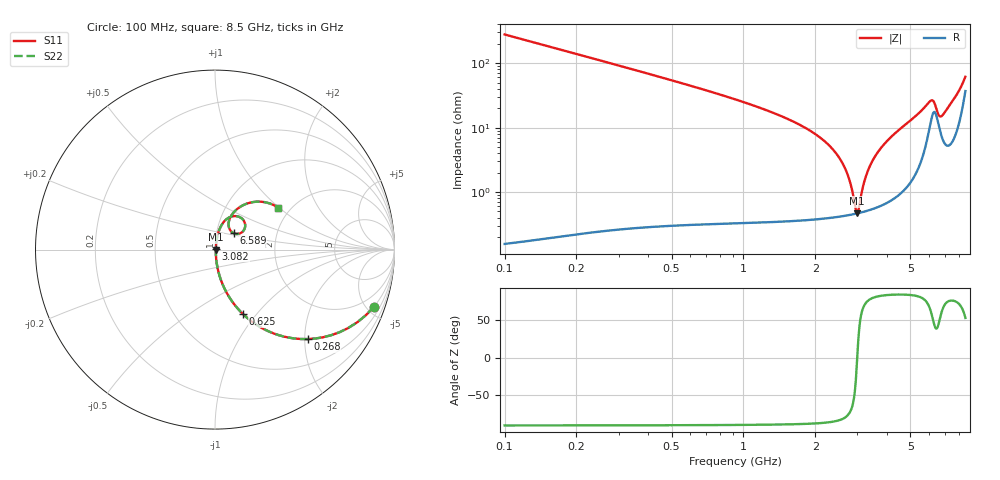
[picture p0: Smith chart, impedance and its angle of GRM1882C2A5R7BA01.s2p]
!Murata Part Number: GRM1882C2A5R7BA01
!These Parameters are Measured in Series Mode Connection
!Data Generated on Mar 30, 2021
!  o--ll--o
!Port1  Port2
!  o------o
!Operation Temp=25[degC], DC Bias Voltage=0[V]
!Freq. Start=100[MHz] Stop=9[GHz] 401[Steps]
# Hz S RI R 50
!Freq.(Hz) S11(Real) S11(Imag) S21(Real) S21(Imag) S12(Real) S12(Imag) S22(Real) S22(Imag)
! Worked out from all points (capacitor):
!   401 points, 100 MHz to 8.5 GHz, reference 50 ohm
!   read as one part in series: C = 5.7 pF near 142 MHz
!   lowest |Z| = 467 mohm at 2.998 GHz (marker M1)
!   series resonance near 2.995 GHz, so ESL is about 500 pH
!   S11 on the Smith chart (normalised r, x): 100 MHz: 1.00, -5.58; 268 MHz: 1.01, -2.07; 625 MHz: 1.01, -0.86; 3.082 GHz: 1.01, +0.01; 6.589 GHz: 1.21, +0.23; 8.5 GHz: 1.74, +0.99
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1e8  0.8859 -0.3176  0.1141 0.3176  0.1141 0.3176  0.8859 -0.3176
2.68e8  0.5162 -0.4985  0.4838 0.4985  0.4838 0.4985  0.5162 -0.4985
4.36e8  0.283 -0.4481  0.717 0.4481  0.717 0.4481  0.283 -0.4481
6.25e8  0.1565 -0.3597  0.8435 0.3597  0.8435 0.3597  0.1565 -0.3597
9.61e8  0.0668 -0.2435  0.9332 0.2435  0.9332 0.2435  0.0668 -0.2435
1.507e9  0.0226 -0.1365  0.9774 0.1365  0.9774 0.1365  0.0226 -0.1365
2.116e9  0.00836 -0.0671  0.9916 0.0671  0.9916 0.0671  0.00836 -0.0671
2.494e9  0.00537 -0.0354  0.9946 0.0354  0.9946 0.0354  0.00537 -0.0354
2.746e9  0.00464 -0.0169  0.9954 0.0169  0.9954 0.0169  0.00464 -0.0169
2.914e9  0.00457 -0.00539  0.9954 0.00539  0.9954 0.00539  0.00457 -0.00539
2.998e9  0.00465 0.000167  0.9954 -0.000167  0.9954 -0.000167  0.00465 0.000167
3.082e9  0.00479 0.00561  0.9952 -0.00561  0.9952 -0.00561  0.00479 0.00561
3.25e9  0.00528 0.0162  0.9947 -0.0162  0.9947 -0.0162  0.00528 0.0162
3.481e9  0.00635 0.0303  0.9936 -0.0303  0.9936 -0.0303  0.00635 0.0303
3.817e9  0.00876 0.0502  0.9912 -0.0502  0.9912 -0.0502  0.00876 0.0502
4.3e9  0.0142 0.0786  0.9858 -0.0786  0.9858 -0.0786  0.0142 0.0786
5.707e9  0.0739 0.176  0.9261 -0.176  0.9261 -0.176  0.0739 0.176
6.169e9  0.1611 0.1596  0.8389 -0.1596  0.8389 -0.1596  0.1611 0.1596
6.589e9  0.104 0.0915  0.896 -0.0915  0.896 -0.0915  0.104 0.0915
7.114e9  0.0788 0.1628  0.9212 -0.1628  0.9212 -0.1628  0.0788 0.1628
7.87e9  0.1607 0.2493  0.8393 -0.2493  0.8393 -0.2493  0.1607 0.2493
8.5e9  0.3537 0.2331  0.6463 -0.2331  0.6463 -0.2331  0.3537 0.2331
